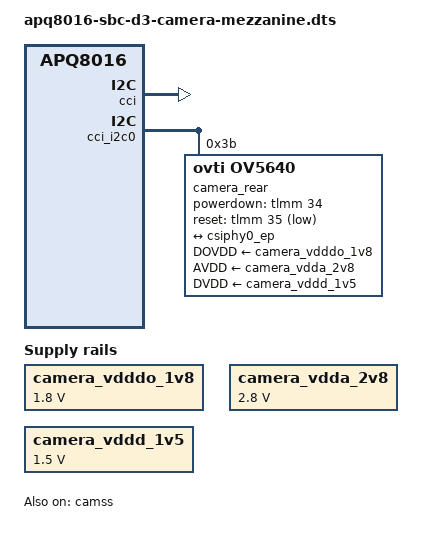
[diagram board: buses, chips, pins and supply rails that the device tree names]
// SPDX-License-Identifier: GPL-2.0-only
/*
 * Copyright (c) 2015, The Linux Foundation. All rights reserved.
 * Copyright (c) 2023, Linaro Ltd.
 */

/dts-v1/;

#include "apq8016-sbc.dts"

/ {
	camera_vdddo_1v8: camera-vdddo-1v8 {
		compatible = "regulator-fixed";
		regulator-name = "camera_vdddo";
		regulator-min-microvolt = <1800000>;
		regulator-max-microvolt = <1800000>;
		regulator-always-on;
	};

	camera_vdda_2v8: camera-vdda-2v8 {
		compatible = "regulator-fixed";
		regulator-name = "camera_vdda";
		regulator-min-microvolt = <2800000>;
		regulator-max-microvolt = <2800000>;
		regulator-always-on;
	};

	camera_vddd_1v5: camera-vddd-1v5 {
		compatible = "regulator-fixed";
		regulator-name = "camera_vddd";
		regulator-min-microvolt = <1500000>;
		regulator-max-microvolt = <1500000>;
		regulator-always-on;
	};
};

&camss {
	status = "okay";

	ports {
		port@0 {
			reg = <0>;
			csiphy0_ep: endpoint {
				data-lanes = <0 2>;
				remote-endpoint = <&ov5640_ep>;
			};
		};
	};
};

&cci {
	status = "okay";
};

&cci_i2c0 {
	camera_rear@3b {
		compatible = "ovti,ov5640";
		reg = <0x3b>;

		powerdown-gpios = <&tlmm 34 GPIO_ACTIVE_HIGH>;
		reset-gpios = <&tlmm 35 GPIO_ACTIVE_LOW>;
		pinctrl-names = "default";
		pinctrl-0 = <&camera_rear_default>;

		clocks = <&gcc GCC_CAMSS_MCLK0_CLK>;
		clock-names = "xclk";
		assigned-clocks = <&gcc GCC_CAMSS_MCLK0_CLK>;
		assigned-clock-rates = <23880000>;

		DOVDD-supply = <&camera_vdddo_1v8>;
		AVDD-supply = <&camera_vdda_2v8>;
		DVDD-supply = <&camera_vddd_1v5>;

		port {
			ov5640_ep: endpoint {
				data-lanes = <1 2>;
				remote-endpoint = <&csiphy0_ep>;
			};
		};
	};
};
